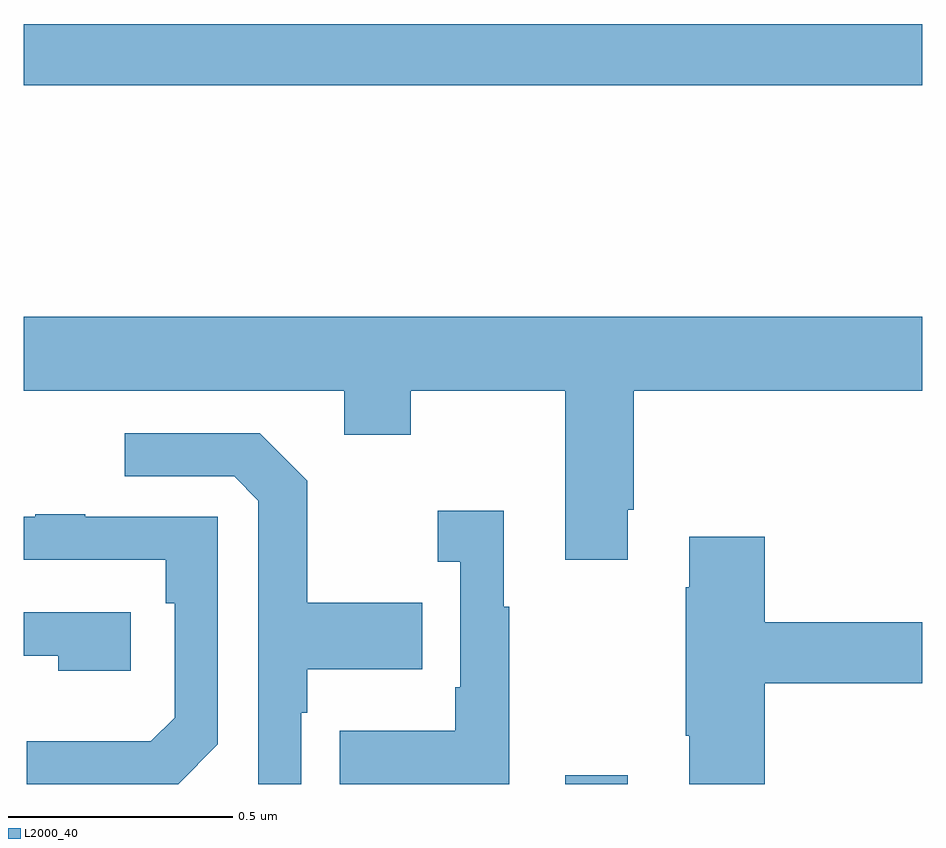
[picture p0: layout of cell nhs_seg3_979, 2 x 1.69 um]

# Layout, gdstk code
import gdstk
lib = gdstk.Library(unit=1e-6, precision=1e-09)
def R(c, l, rs):  # rectangles x0, y0, x1, y1
    for r in rs: c.add(gdstk.rectangle(r[:2], r[2:], *l))
def P(c, l, *ps):  # polygons
    for p in ps: c.add(gdstk.Polygon(p, *l))
L2000_40 = (2000, 40)

nhs_seg3_979 = lib.new_cell('nhs_seg3_979')
R(nhs_seg3_979, L2000_40, [(124.205,673.4,124.345,673.42), (123,674.956,125,675.092)])
P(nhs_seg3_979, L2000_40, [(124.345,674.011),(124.358,674.011),(124.358,674.276),(125,674.276),(125,674.44),(123,674.44),(123,674.276),(123.713,674.276),(123.713,674.177),(123.861,674.177),(123.861,674.276),(124.205,674.276),(124.205,673.899),(124.345,673.899)],
  [(123.618,673.559),(123.631,673.559),(123.631,673.655),(123.887,673.655),(123.887,673.803),(123.631,673.803),(123.631,674.075),(123.525,674.181),(123.225,674.181),(123.225,674.085),(123.468,674.085),(123.522,674.031),(123.522,673.4),(123.618,673.4)],
  [(124.081,673.795),(124.069,673.795),(124.069,674.008),(123.921,674.008),(123.921,673.895),(123.972,673.895),(123.972,673.615),(123.96,673.615),(123.96,673.519),(123.703,673.519),(123.703,673.4),(124.081,673.4)],
  [(123.432,673.488),(123.432,673.995),(123.137,673.995),(123.137,674),(123.025,674),(123.025,673.995),(123,673.995),(123,673.899),(123.316,673.899),(123.316,673.802),(123.336,673.802),(123.336,673.548),(123.283,673.495),(123.006,673.495),(123.006,673.4),(123.344,673.4)],
  [(124.649,673.624),(125,673.624),(125,673.76),(124.649,673.76),(124.649,673.951),(124.481,673.951),(124.481,673.838),(124.474,673.838),(124.474,673.507),(124.481,673.507),(124.481,673.4),(124.649,673.4)],
  [(123.238,673.782),(123,673.782),(123,673.686),(123.077,673.686),(123.077,673.652),(123.238,673.652)])

lib.write_gds('nhs_seg3_979.gds')
